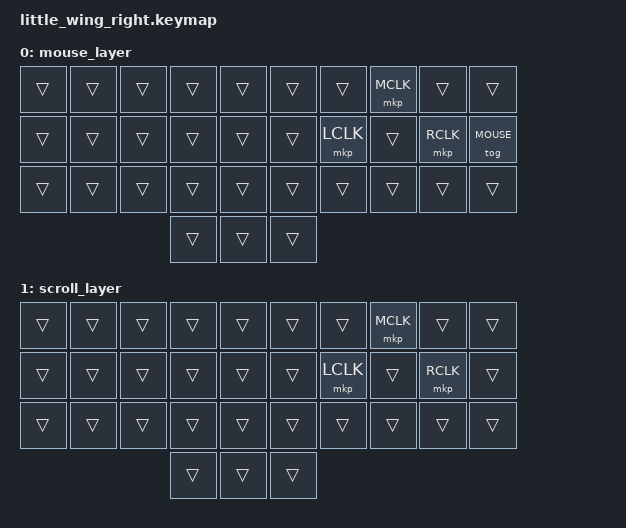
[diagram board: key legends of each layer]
#include <dt-bindings/zmk/mouse.h>
#include <dt-bindings/zmk/input_transform.h>
#include <zephyr/dt-bindings/input/input-event-codes.h>
#include <behaviors.dtsi>

/ {
    // custom temp layer to exclude all the trans keys so that mod taps and shit would work
    temp_layer: temp_layer {
        compatible = "zmk,input-processor-temp-layer";
        #input-processor-cells = <2>;
        require-prior-idle-ms = <800>;
        excluded-positions = <7 16 18>;
    };

    trackball_listener {
        compatible = "zmk,input-listener";
        device = <&trackball>;

        input-processors = <&temp_layer MOUSE 1200>;

        scroll {
            layers = <SCROLL>;
            input-processors = <&zip_xy_scaler 1 25>, <&zip_xy_to_scroll_mapper>, <&zip_scroll_transform INPUT_TRANSFORM_Y_INVERT>;
        };
    };

    keymap {
        compatible = "zmk,keymap";

        mouse_layer {
            bindings = <
                &trans     &trans     &trans     &trans     &trans         &trans     &trans     &mkp MCLK  &trans     &trans
                &trans     &trans     &trans     &trans     &trans         &trans     &mkp LCLK  &trans     &mkp RCLK  &tog MOUSE
                &trans     &trans     &trans     &trans     &trans         &trans     &trans     &trans     &trans     &trans
                                                 &trans     &trans         &trans
            >;
        };
        scroll_layer {
            bindings = <
                &trans     &trans     &trans     &trans     &trans         &trans     &trans     &mkp MCLK  &trans     &trans
                &trans     &trans     &trans     &trans     &trans         &trans     &mkp LCLK  &trans     &mkp RCLK  &trans
                &trans     &trans     &trans     &trans     &trans         &trans     &trans     &trans     &trans     &trans
                                                 &trans     &trans         &trans
            >;
        };
    };
};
